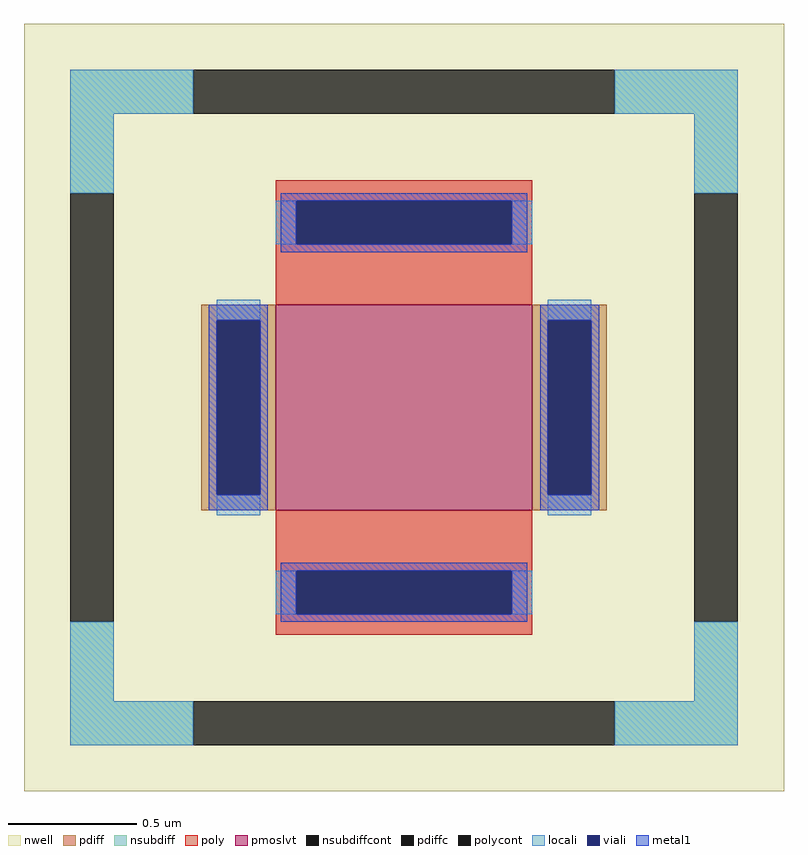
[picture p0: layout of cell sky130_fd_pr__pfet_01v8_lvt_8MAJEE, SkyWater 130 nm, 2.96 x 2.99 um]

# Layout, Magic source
magic
tech sky130A
magscale 1 2
<< nwell >>
rect -296 -299 296 299
<< pmoslvt >>
rect -100 -80 100 80
<< pdiff >>
rect -158 68 -100 80
rect -158 -68 -146 68
rect -112 -68 -100 68
rect -158 -80 -100 -68
rect 100 68 158 80
rect 100 -68 112 68
rect 146 -68 158 68
rect 100 -80 158 -68
<< pdiffc >>
rect -146 -68 -112 68
rect 112 -68 146 68
<< nsubdiff >>
rect -260 229 -164 263
rect 164 229 260 263
rect -260 167 -226 229
rect 226 167 260 229
rect -260 -229 -226 -167
rect 226 -229 260 -167
rect -260 -263 -164 -229
rect 164 -263 260 -229
<< nsubdiffcont >>
rect -164 229 164 263
rect -260 -167 -226 167
rect 226 -167 260 167
rect -164 -263 164 -229
<< poly >>
rect -100 161 100 177
rect -100 127 -84 161
rect 84 127 100 161
rect -100 80 100 127
rect -100 -127 100 -80
rect -100 -161 -84 -127
rect 84 -161 100 -127
rect -100 -177 100 -161
<< polycont >>
rect -84 127 84 161
rect -84 -161 84 -127
<< locali >>
rect -260 229 -164 263
rect 164 229 260 263
rect -260 167 -226 229
rect 226 167 260 229
rect -100 127 -84 161
rect 84 127 100 161
rect -146 68 -112 84
rect -146 -84 -112 -68
rect 112 68 146 84
rect 112 -84 146 -68
rect -100 -161 -84 -127
rect 84 -161 100 -127
rect -260 -229 -226 -167
rect 226 -229 260 -167
rect -260 -263 -164 -229
rect 164 -263 260 -229
<< viali >>
rect -84 127 84 161
rect -146 -68 -112 68
rect 112 -68 146 68
rect -84 -161 84 -127
<< metal1 >>
rect -96 161 96 167
rect -96 127 -84 161
rect 84 127 96 161
rect -96 121 96 127
rect -152 68 -106 80
rect -152 -68 -146 68
rect -112 -68 -106 68
rect -152 -80 -106 -68
rect 106 68 152 80
rect 106 -68 112 68
rect 146 -68 152 68
rect 106 -80 152 -68
rect -96 -127 96 -121
rect -96 -161 -84 -127
rect 84 -161 96 -127
rect -96 -167 96 -161
<< properties >>
string FIXED_BBOX -243 -246 243 246
string gencell sky130_fd_pr__pfet_01v8_lvt
string library sky130
string parameters w 0.8 l 1.0 m 1 nf 1 diffcov 100 polycov 100 guard 1 glc 1 grc 1 gtc 1 gbc 1 tbcov 100 rlcov 100 topc 1 botc 1 poverlap 0 doverlap 1 lmin 0.35 wmin 0.42 class mosfet compatible {sky130_fd_pr__pfet_01v8  sky130_fd_pr__pfet_01v8_lvt sky130_fd_pr__pfet_01v8_hvt  sky130_fd_pr__pfet_g5v0d10v5} full_metal 1 viasrc 100 viadrn 100 viagate 100 viagb 0 viagr 0 viagl 0 viagt 0 ad {int((nf+1)/2) * W/nf * 0.29} as {int((nf+2)/2) * W/nf * 0.29} pd {2*int((nf+1)/2) * (W/nf + 0.29)} ps {2*int((nf+2)/2) * (W/nf + 0.29)} nrd {0.29 / W} nrs {0.29 / W} sa 0 sb 0 sd 0 mult 1
<< end >>
